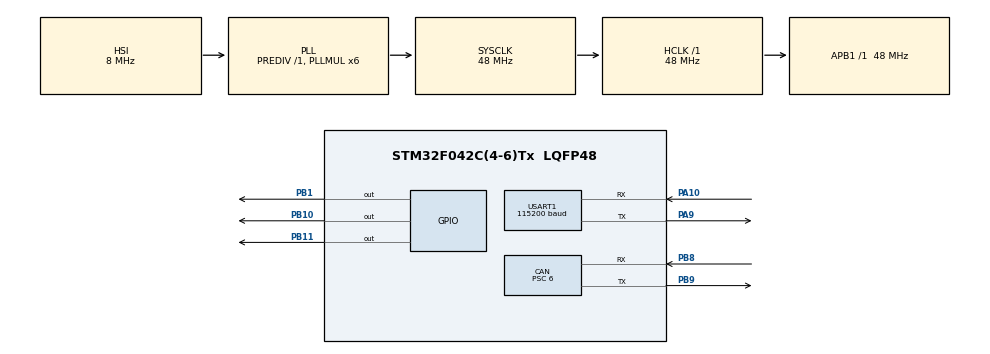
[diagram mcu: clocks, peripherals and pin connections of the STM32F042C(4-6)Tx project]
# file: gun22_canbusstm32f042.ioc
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CAN.BS1=CAN_BS1_13TQ
CAN.BS2=CAN_BS2_2TQ
CAN.CalculateBaudRate=500000
CAN.CalculateTimeBit=2000
CAN.CalculateTimeQuantum=125.0
CAN.Mode=CAN_MODE_NORMAL
CAN.Prescaler=6
CAN.SJW=CAN_SJW_2TQ
Mcu.Family=STM32F0
Mcu.Name=STM32F042C(4-6)Tx
Mcu.Package=LQFP48
NVIC.CEC_CAN_IRQn=true\:0\:0\:false\:false\:true\:true\:true\:true
PA10.Mode=Asynchronous
PA10.Signal=USART1_RX
PA13.Mode=Serial_Wire
PA13.Signal=SYS_SWDIO
PA14.Mode=Serial_Wire
PA14.Signal=SYS_SWCLK
PA9.Mode=Asynchronous
PA9.Signal=USART1_TX
PB1.Signal=GPIO_Output
PB10.Signal=GPIO_Output
PB11.Signal=GPIO_Output
PB8.Mode=CAN_Activate
PB8.Signal=CAN_RX
PB9.Mode=CAN_Activate
PB9.Signal=CAN_TX
ProjectManager.HeapSize=0x200
ProjectManager.StackSize=0x400
ProjectManager.TargetToolchain=STM32CubeIDE
RCC.AHBFreq_Value=48000000
RCC.APB1Freq_Value=48000000
RCC.APB1TimFreq_Value=48000000
RCC.HCLKFreq_Value=48000000
RCC.PLLMUL=RCC_PLL_MUL6
RCC.SYSCLKFreq_VALUE=48000000
RCC.SYSCLKSource=RCC_SYSCLKSOURCE_PLLCLK
USART1.BaudRate=115200
USART1.VirtualMode-Asynchronous=VM_ASYNC
board=custom

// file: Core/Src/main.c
/* USER CODE BEGIN Header */
/**
  ******************************************************************************
  * @file           : main.c
  * @brief          : Main program body
  ******************************************************************************
  * @attention
  *
  * Copyright (c) 2022 STMicroelectronics.
  * All rights reserved.
  *
  * This software is licensed under terms that can be found in the LICENSE file
  * in the root directory of this software component.
  * If no LICENSE file comes with this software, it is provided AS-IS.
  *
  ******************************************************************************
  */
/* USER CODE END Header */
#include "main.h"

 CAN_HandleTypeDef hcan;

UART_HandleTypeDef huart1;

/* USER CODE BEGIN PV */
//uint8_t tbuffer[5];
//uint8_t rxBuffer;

CAN_TxHeaderTypeDef TxHeader;
CAN_RxHeaderTypeDef RxHeader;

uint8_t TxData[8];
uint8_t RxData[8];

uint32_t TxMailbox;
uint8_t datacheck=0;
/* USER CODE END PV */

void SystemClock_Config(void);
static void MX_GPIO_Init(void);
static void MX_USART1_UART_Init(void);
static void MX_CAN_Init(void);

/* USER CODE BEGIN 0 */
void HAL_CAN_RxFifo0MsgPendingCallback(CAN_HandleTypeDef *hcan)
{
	HAL_CAN_GetRxMessage(hcan, CAN_RX_FIFO0, &RxHeader, RxData);
	if(RxHeader.DLC == 4)
	{
		datacheck=1;
	}
}
/* USER CODE END 0 */

int main(void)
{

  /* MCU Configuration--------------------------------------------------------*/

  /* Reset of all peripherals, Initializes the Flash interface and the Systick. */
  HAL_Init();

  /* Configure the system clock */
  SystemClock_Config();

  /* Initialize all configured peripherals */
  MX_GPIO_Init();
  MX_USART1_UART_Init();
  MX_CAN_Init();
  /* USER CODE BEGIN 2 */
  HAL_CAN_Start(&hcan);

  HAL_CAN_ActivateNotification(&hcan, CAN_IT_RX_FIFO0_MSG_PENDING);

  TxHeader.DLC=4;
  TxHeader.IDE = CAN_ID_STD;
  TxHeader.StdId= 0x446;
  TxHeader.RTR = CAN_RTR_DATA;

  TxData[0]= 0x43;
  TxData[1]= 0x43;
  TxData[2]= 0x43;
  TxData[3]= 0x43;
  /* USER CODE END 2 */

  /* Infinite loop */
  while (1)
  {

    /* USER CODE BEGIN 3 */
         hcan.Instance->MCR = 0x10;
	     HAL_CAN_AddTxMessage(&hcan, &TxHeader, TxData, &TxMailbox);
	     HAL_Delay(1000);

  }
  /* USER CODE END 3 */
}

void SystemClock_Config(void)
{
  RCC_OscInitTypeDef RCC_OscInitStruct = {0};
  RCC_ClkInitTypeDef RCC_ClkInitStruct = {0};
  RCC_PeriphCLKInitTypeDef PeriphClkInit = {0};

  /** Initializes the RCC Oscillators according to the specified parameters
  * in the RCC_OscInitTypeDef structure.
  */
  RCC_OscInitStruct.OscillatorType = RCC_OSCILLATORTYPE_HSI;
  RCC_OscInitStruct.HSIState = RCC_HSI_ON;
  RCC_OscInitStruct.HSICalibrationValue = RCC_HSICALIBRATION_DEFAULT;
  RCC_OscInitStruct.PLL.PLLState = RCC_PLL_ON;
  RCC_OscInitStruct.PLL.PLLSource = RCC_PLLSOURCE_HSI;
  RCC_OscInitStruct.PLL.PLLMUL = RCC_PLL_MUL6;
  RCC_OscInitStruct.PLL.PREDIV = RCC_PREDIV_DIV1;
  if (HAL_RCC_OscConfig(&RCC_OscInitStruct) != HAL_OK)
  {
    Error_Handler();
  }

  /** Initializes the CPU, AHB and APB buses clocks
  */
  RCC_ClkInitStruct.ClockType = RCC_CLOCKTYPE_HCLK|RCC_CLOCKTYPE_SYSCLK
                              |RCC_CLOCKTYPE_PCLK1;
  RCC_ClkInitStruct.SYSCLKSource = RCC_SYSCLKSOURCE_PLLCLK;
  RCC_ClkInitStruct.AHBCLKDivider = RCC_SYSCLK_DIV1;
  RCC_ClkInitStruct.APB1CLKDivider = RCC_HCLK_DIV1;

  if (HAL_RCC_ClockConfig(&RCC_ClkInitStruct, FLASH_LATENCY_1) != HAL_OK)
  {
    Error_Handler();
  }
  PeriphClkInit.PeriphClockSelection = RCC_PERIPHCLK_USART1;
  PeriphClkInit.Usart1ClockSelection = RCC_USART1CLKSOURCE_PCLK1;
  if (HAL_RCCEx_PeriphCLKConfig(&PeriphClkInit) != HAL_OK)
  {
    Error_Handler();
  }
}

static void MX_CAN_Init(void)
{

  hcan.Instance = CAN;
  hcan.Init.Prescaler = 6;
  hcan.Init.Mode = CAN_MODE_NORMAL;
  hcan.Init.SyncJumpWidth = CAN_SJW_2TQ;
  hcan.Init.TimeSeg1 = CAN_BS1_13TQ;
  hcan.Init.TimeSeg2 = CAN_BS2_2TQ;
  hcan.Init.TimeTriggeredMode = DISABLE;
  hcan.Init.AutoBusOff = DISABLE;
  hcan.Init.AutoWakeUp = DISABLE;
  hcan.Init.AutoRetransmission = DISABLE;
  hcan.Init.ReceiveFifoLocked = DISABLE;
  hcan.Init.TransmitFifoPriority = DISABLE;
  if (HAL_CAN_Init(&hcan) != HAL_OK)
  {
    Error_Handler();
  }
  /* USER CODE BEGIN CAN_Init 2 */
  CAN_FilterTypeDef canfilterconfig;

    canfilterconfig.FilterActivation = CAN_FILTER_ENABLE;
    canfilterconfig.FilterBank = 13;
    canfilterconfig.FilterFIFOAssignment = CAN_FILTER_FIFO0;
    canfilterconfig.FilterIdHigh = 0x103<<5;
    canfilterconfig.FilterIdLow = 0;
    canfilterconfig.FilterMaskIdHigh = 0x103<<5;
    canfilterconfig.FilterMaskIdLow = 0x0000;
    canfilterconfig.FilterMode = CAN_FILTERMODE_IDMASK;
    canfilterconfig.FilterScale = CAN_FILTERSCALE_32BIT;

    HAL_CAN_ConfigFilter(&hcan, &canfilterconfig);
  /* USER CODE END CAN_Init 2 */

}

static void MX_USART1_UART_Init(void)
{

  huart1.Instance = USART1;
  huart1.Init.BaudRate = 115200;
  huart1.Init.WordLength = UART_WORDLENGTH_8B;
  huart1.Init.StopBits = UART_STOPBITS_1;
  huart1.Init.Parity = UART_PARITY_NONE;
  huart1.Init.Mode = UART_MODE_TX_RX;
  huart1.Init.HwFlowCtl = UART_HWCONTROL_NONE;
  huart1.Init.OverSampling = UART_OVERSAMPLING_16;
  huart1.Init.OneBitSampling = UART_ONE_BIT_SAMPLE_DISABLE;
  huart1.AdvancedInit.AdvFeatureInit = UART_ADVFEATURE_NO_INIT;
  if (HAL_UART_Init(&huart1) != HAL_OK)
  {
    Error_Handler();
  }

}

static void MX_GPIO_Init(void)
{
  GPIO_InitTypeDef GPIO_InitStruct = {0};

  /* GPIO Ports Clock Enable */
  __HAL_RCC_GPIOB_CLK_ENABLE();
  __HAL_RCC_GPIOA_CLK_ENABLE();

  /*Configure GPIO pin Output Level */
  HAL_GPIO_WritePin(GPIOB, GPIO_PIN_1|GPIO_PIN_10|GPIO_PIN_11, GPIO_PIN_RESET);

  /*Configure GPIO pins : PB1 PB10 PB11 */
  GPIO_InitStruct.Pin = GPIO_PIN_1|GPIO_PIN_10|GPIO_PIN_11;
  GPIO_InitStruct.Mode = GPIO_MODE_OUTPUT_PP;
  GPIO_InitStruct.Pull = GPIO_NOPULL;
  GPIO_InitStruct.Speed = GPIO_SPEED_FREQ_LOW;
  HAL_GPIO_Init(GPIOB, &GPIO_InitStruct);

}

void Error_Handler(void)
{
  __disable_irq();
  while (1)
  {
  }
}
